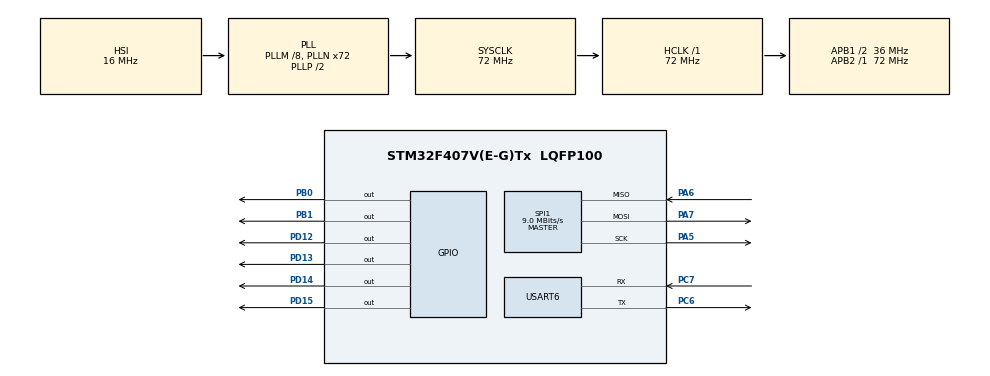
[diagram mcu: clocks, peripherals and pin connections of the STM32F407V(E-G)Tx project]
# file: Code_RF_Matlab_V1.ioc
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Mcu.Family=STM32F4
Mcu.Name=STM32F407V(E-G)Tx
Mcu.Package=LQFP100
NVIC.PriorityGroup=NVIC_PRIORITYGROUP_4
NVIC.USART6_IRQn=true\:0\:0\:false\:false\:true\:true\:true\:true
PA13.Mode=Serial_Wire
PA13.Signal=SYS_JTMS-SWDIO
PA14.Mode=Serial_Wire
PA14.Signal=SYS_JTCK-SWCLK
PA5.Mode=Full_Duplex_Master
PA5.Signal=SPI1_SCK
PA6.Mode=Full_Duplex_Master
PA6.Signal=SPI1_MISO
PA7.Mode=Full_Duplex_Master
PA7.Signal=SPI1_MOSI
PB0.Signal=GPIO_Output
PB1.Signal=GPIO_Output
PC6.Mode=Asynchronous
PC6.Signal=USART6_TX
PC7.Mode=Asynchronous
PC7.Signal=USART6_RX
PD12.Signal=GPIO_Output
PD13.Signal=GPIO_Output
PD14.Signal=GPIO_Output
PD15.Signal=GPIO_Output
PH0-OSC_IN.Mode=HSE-External-Oscillator
PH0-OSC_IN.Signal=RCC_OSC_IN
PH1-OSC_OUT.Mode=HSE-External-Oscillator
PH1-OSC_OUT.Signal=RCC_OSC_OUT
ProjectManager.HeapSize=0x200
ProjectManager.StackSize=0x400
ProjectManager.TargetToolchain=STM32CubeIDE
RCC.48MHZClocksFreq_Value=36000000
RCC.AHBFreq_Value=72000000
RCC.APB1CLKDivider=RCC_HCLK_DIV2
RCC.APB1Freq_Value=36000000
RCC.APB1TimFreq_Value=72000000
RCC.APB2Freq_Value=72000000
RCC.APB2TimFreq_Value=72000000
RCC.CortexFreq_Value=72000000
RCC.HCLKFreq_Value=72000000
RCC.HSE_VALUE=25000000
RCC.HSI_VALUE=16000000
RCC.LSE_VALUE=32768
RCC.PLLM=8
RCC.PLLN=72
RCC.SYSCLKFreq_VALUE=72000000
RCC.SYSCLKSource=RCC_SYSCLKSOURCE_PLLCLK
RCC.VCOOutputFreq_Value=144000000
SPI1.BaudRatePrescaler=SPI_BAUDRATEPRESCALER_8
SPI1.CalculateBaudRate=9.0 MBits/s
SPI1.Direction=SPI_DIRECTION_2LINES
SPI1.Mode=SPI_MODE_MASTER
SPI1.VirtualType=VM_MASTER
USART6.VirtualMode=VM_ASYNC
board=custom

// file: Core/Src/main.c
/* USER CODE BEGIN Header */
/**
 ******************************************************************************
 * @file           : main.c
 * @brief          : Main program body
 ******************************************************************************
 * @attention
 *
 * Copyright (c) 2023 STMicroelectronics.
 * All rights reserved.
 *
 * This software is licensed under terms that can be found in the LICENSE file
 * in the root directory of this software component.
 * If no LICENSE file comes with this software, it is provided AS-IS.
 *
 ******************************************************************************
 */
/* USER CODE END Header */
#include "main.h"
#include "spi.h"
#include "usart.h"
#include "gpio.h"

/* USER CODE BEGIN Includes */
#include "TD_RF24L01.h"
#include "stdio.h"
/* USER CODE END Includes */

/* USER CODE BEGIN PD */
#define nrf_CSN_PORT GPIOB
#define nrf_CSN_PIN GPIO_PIN_0

#define nrf_CE_PORT GPIOB
#define nrf_CE_PIN GPIO_PIN_1
/* USER CODE END PD */

/* USER CODE BEGIN PV */
uint64_t TxpipeAddrs = 0x1122334455;
uint64_t RxpipeAddrs = 0xAABBCCDDEE;

char UART6_rxBuffer[32] = "";
Data_t data_PC;
Data_t data_Quad;
/* USER CODE END PV */

void SystemClock_Config(void);

int main(void)
{

  /* MCU Configuration--------------------------------------------------------*/

  /* Reset of all peripherals, Initializes the Flash interface and the Systick. */
  HAL_Init();

  /* Configure the system clock */
  SystemClock_Config();

  /* Initialize all configured peripherals */
  MX_GPIO_Init();
  MX_SPI1_Init();
  MX_USART6_UART_Init();
  /* USER CODE BEGIN 2 */

  NRF24_begin(GPIOB, nrf_CSN_PIN, nrf_CE_PIN, hspi1);
  nrf24_DebugUART_Init(huart6);

  NRF24_setAutoAck(true);
  NRF24_openReadingPipe(1, RxpipeAddrs);

  NRF24_enableDynamicPayloads();
  NRF24_enableAckPayload();

  NRF24_startListening();
  HAL_UART_Receive_IT(&huart6, (uint8_t *)UART6_rxBuffer, 1);
  /* USER CODE END 2 */

  /* Infinite loop */
  /* USER CODE BEGIN WHILE */
  while (1)
  {
    // Receive
    if (NRF24_available())
    {
      NRF24_read(&data_Quad, 32);
      HAL_GPIO_TogglePin(GPIOD, GPIO_PIN_13);
      // Send Pack Data Receive from PC to quadcopter
      NRF24_writeAckPayload(1, &data_PC, 32);
      // Send Pack Data Receive from quacopter to PC
      HAL_UART_Transmit(&huart6, (uint8_t *)&data_Quad, 32, 10);
      HAL_UART_Transmit(&huart6, (uint8_t *)"E", strlen("E"), 10);
    }
    /* USER CODE END WHILE */

  }
}

void SystemClock_Config(void)
{
  RCC_OscInitTypeDef RCC_OscInitStruct = {0};
  RCC_ClkInitTypeDef RCC_ClkInitStruct = {0};

  /** Configure the main internal regulator output voltage
   */
  __HAL_RCC_PWR_CLK_ENABLE();
  __HAL_PWR_VOLTAGESCALING_CONFIG(PWR_REGULATOR_VOLTAGE_SCALE1);

  /** Initializes the RCC Oscillators according to the specified parameters
   * in the RCC_OscInitTypeDef structure.
   */
  RCC_OscInitStruct.OscillatorType = RCC_OSCILLATORTYPE_HSI;
  RCC_OscInitStruct.HSIState = RCC_HSI_ON;
  RCC_OscInitStruct.HSICalibrationValue = RCC_HSICALIBRATION_DEFAULT;
  RCC_OscInitStruct.PLL.PLLState = RCC_PLL_ON;
  RCC_OscInitStruct.PLL.PLLSource = RCC_PLLSOURCE_HSI;
  RCC_OscInitStruct.PLL.PLLM = 8;
  RCC_OscInitStruct.PLL.PLLN = 72;
  RCC_OscInitStruct.PLL.PLLP = RCC_PLLP_DIV2;
  RCC_OscInitStruct.PLL.PLLQ = 4;
  if (HAL_RCC_OscConfig(&RCC_OscInitStruct) != HAL_OK)
  {
    Error_Handler();
  }

  /** Initializes the CPU, AHB and APB buses clocks
   */
  RCC_ClkInitStruct.ClockType = RCC_CLOCKTYPE_HCLK | RCC_CLOCKTYPE_SYSCLK | RCC_CLOCKTYPE_PCLK1 | RCC_CLOCKTYPE_PCLK2;
  RCC_ClkInitStruct.SYSCLKSource = RCC_SYSCLKSOURCE_PLLCLK;
  RCC_ClkInitStruct.AHBCLKDivider = RCC_SYSCLK_DIV1;
  RCC_ClkInitStruct.APB1CLKDivider = RCC_HCLK_DIV2;
  RCC_ClkInitStruct.APB2CLKDivider = RCC_HCLK_DIV1;

  if (HAL_RCC_ClockConfig(&RCC_ClkInitStruct, FLASH_LATENCY_2) != HAL_OK)
  {
    Error_Handler();
  }
}

/* USER CODE BEGIN 4 */

// Hàm ngắt khi nhận được dữ liệu từ UART
void HAL_UART_RxCpltCallback(UART_HandleTypeDef *huart)
{
  // Kiểm tra UART nào gây ra ngắt
  if (huart->Instance == USART6)
  {
    // Kiểm tra kí tự vừa nhận được có phải là kí tự mong muốn hay không
    if (UART6_rxBuffer[0] == 'S')
    {
      HAL_GPIO_TogglePin(GPIOD, GPIO_PIN_14);
      // Tách chuỗi nhận được thành kiểu dữ liệu Data để gửi cho quadcopter
      HAL_UART_Receive(&huart6, (uint8_t *)&data_PC, 32, 10);
    }
  }
  // Khai báo lại hàm ngắt nhận 1 kí tự
  HAL_UART_Receive_IT(&huart6, (uint8_t *)UART6_rxBuffer, 1);
}
/* USER CODE END 4 */

void Error_Handler(void)
{
  __disable_irq();
  while (1)
  {
  }
}
